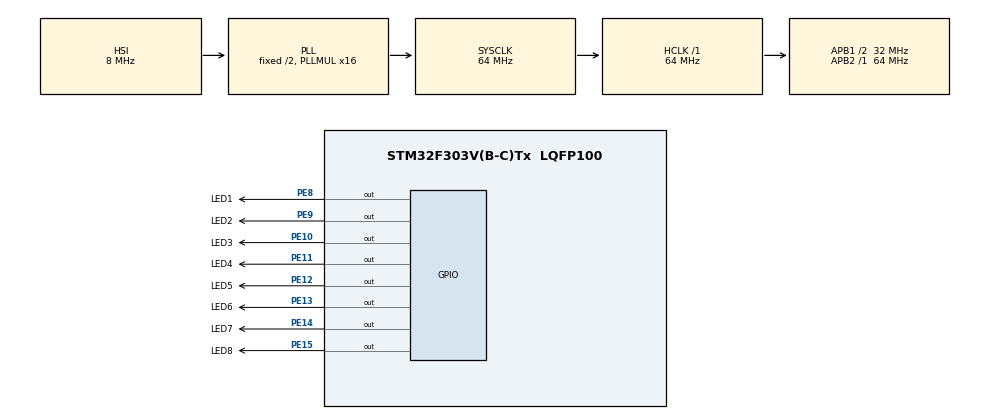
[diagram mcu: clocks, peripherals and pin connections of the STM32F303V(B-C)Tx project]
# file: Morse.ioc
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Mcu.Family=STM32F3
Mcu.Name=STM32F303V(B-C)Tx
Mcu.Package=LQFP100
NVIC.PriorityGroup=NVIC_PRIORITYGROUP_4
PE10.GPIO_Label=LED3
PE10.Signal=GPIO_Output
PE11.GPIO_Label=LED4
PE11.Signal=GPIO_Output
PE12.GPIO_Label=LED5
PE12.Signal=GPIO_Output
PE13.GPIO_Label=LED6
PE13.Signal=GPIO_Output
PE14.GPIO_Label=LED7
PE14.Signal=GPIO_Output
PE15.GPIO_Label=LED8
PE15.Signal=GPIO_Output
PE8.GPIO_Label=LED1
PE8.Signal=GPIO_Output
PE9.GPIO_Label=LED2
PE9.Signal=GPIO_Output
ProjectManager.HeapSize=0x200
ProjectManager.StackSize=0x400
ProjectManager.TargetToolchain=SW4STM32
RCC.AHBFreq_Value=64000000
RCC.APB1CLKDivider=RCC_HCLK_DIV2
RCC.APB1Freq_Value=32000000
RCC.APB1TimFreq_Value=64000000
RCC.APB2Freq_Value=64000000
RCC.APB2TimFreq_Value=64000000
RCC.CortexFreq_Value=64000000
RCC.HCLKFreq_Value=64000000
RCC.HSE_VALUE=8000000
RCC.HSI_VALUE=8000000
RCC.LSE_VALUE=32768
RCC.PLLMUL=RCC_PLL_MUL16
RCC.SYSCLKFreq_VALUE=64000000
RCC.SYSCLKSourceVirtual=RCC_SYSCLKSOURCE_PLLCLK
RCC.USBFreq_Value=64000000
board=Morse

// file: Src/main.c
/**
  ******************************************************************************
  * File Name          : main.c
  * Description        : Main program body
  ******************************************************************************
  ** This notice applies to any and all portions of this file
  * that are not between comment pairs USER CODE BEGIN and
  * USER CODE END. Other portions of this file, whether
  * inserted by the user or by software development tools
  * are owned by their respective copyright owners.
  *
  * COPYRIGHT(c) 2017 STMicroelectronics
  *
  * Redistribution and use in source and binary forms, with or without modification,
  * are permitted provided that the following conditions are met:
  *   1. Redistributions of source code must retain the above copyright notice,
  *      this list of conditions and the following disclaimer.
  *   2. Redistributions in binary form must reproduce the above copyright notice,
  *      this list of conditions and the following disclaimer in the documentation
  *      and/or other materials provided with the distribution.
  *   3. Neither the name of STMicroelectronics nor the names of its contributors
  *      may be used to endorse or promote products derived from this software
  *      without specific prior written permission.
  *
  * THIS SOFTWARE IS PROVIDED BY THE COPYRIGHT HOLDERS AND CONTRIBUTORS "AS IS"
  * AND ANY EXPRESS OR IMPLIED WARRANTIES, INCLUDING, BUT NOT LIMITED TO, THE
  * IMPLIED WARRANTIES OF MERCHANTABILITY AND FITNESS FOR A PARTICULAR PURPOSE ARE
  * DISCLAIMED. IN NO EVENT SHALL THE COPYRIGHT HOLDER OR CONTRIBUTORS BE LIABLE
  * FOR ANY DIRECT, INDIRECT, INCIDENTAL, SPECIAL, EXEMPLARY, OR CONSEQUENTIAL
  * DAMAGES (INCLUDING, BUT NOT LIMITED TO, PROCUREMENT OF SUBSTITUTE GOODS OR
  * SERVICES; LOSS OF USE, DATA, OR PROFITS; OR BUSINESS INTERRUPTION) HOWEVER
  * CAUSED AND ON ANY THEORY OF LIABILITY, WHETHER IN CONTRACT, STRICT LIABILITY,
  * OR TORT (INCLUDING NEGLIGENCE OR OTHERWISE) ARISING IN ANY WAY OUT OF THE USE
  * OF THIS SOFTWARE, EVEN IF ADVISED OF THE POSSIBILITY OF SUCH DAMAGE.
  *
  ******************************************************************************
  */
#include "main.h"
#include "stm32f3xx_hal.h"
#include "gpio.h"

/* USER CODE BEGIN PV */
/* Private variables ---------------------------------------------------------*/

/* USER CODE END PV */

void SystemClock_Config(void);

/* USER CODE BEGIN PFP */
/* Private function prototypes -----------------------------------------------*/

/* USER CODE END PFP */

int main(void)
{

  /* USER CODE BEGIN 1 */
	int pins[] = {LED1_Pin, LED2_Pin, LED3_Pin, LED4_Pin, LED5_Pin, LED6_Pin, LED7_Pin, LED8_Pin};
	void pins_on() {
		for (int i=0; i<8; i++) {
			HAL_GPIO_WritePin(GPIOE, pins[i], GPIO_PIN_SET);
		}
	}
	void pins_off() {
		for (int i=0; i<8; i++) {
			HAL_GPIO_WritePin(GPIOE, pins[i], GPIO_PIN_RESET);
		}
	}
	void dot() {
		pins_on();
		HAL_Delay(100);
		pins_off();
	}
	void dash() {
		pins_on();
		HAL_Delay(300);
		pins_off();
	}
	void letter(char let) {
		int symbols[] = {};
		if (let == 'a') {
			int symbols[2] = {0, 1};
		} else if (let == 'd') {
			int symbols[3] = {1, 0, 0};
		} else if (let == 'r') {
			int symbols[3] = {0, 1, 0};
		} else if (let == 'i') {
			int symbols[2] = {0, 0};
		} else if (let == 'y') {
			int symbols[4] = {1, 0, 1, 1};
		} else if (let == 'n') {
			int symbols[2] = {1, 0};
		} else if (let == ' ') {
			int symbols[4] = {0, 0, 0, 0};
		} else if (let == 'b') {
			int symbols[4] = {1, 0, 0, 0};
		} else if (let == 'e') {
			int symbols[1] = {0};
		} else if (let == 'v') {
			int symbols[4] = {0, 0, 0, 1};
		} else if (let == 'z') {
			int symbols[4] = {1, 1, 0, 0};
		}
		for (int i=0; i<sizeof(symbols); i++) {
			if (i>0) {
				HAL_Delay(100);
			}
			if (symbols[i]) {
				dash();
			} else {
				dot();
			}
		}
	}
  /* USER CODE END 1 */

  /* MCU Configuration----------------------------------------------------------*/

  /* Reset of all peripherals, Initializes the Flash interface and the Systick. */
  HAL_Init();

  /* Configure the system clock */
  SystemClock_Config();

  /* Initialize all configured peripherals */
  MX_GPIO_Init();

  /* Infinite loop */
  /* USER CODE BEGIN WHILE */
  while (1)
  {
	  char name[] = {'a', 'd', 'r', 'i', 'y', 'a', 'n', ' ', 'b', 'e', 'v', 'z',};
	  for (int i=1; i<sizeof(name); i++) {
		  letter(name[i]);
		  HAL_Delay(300);
	  }
	  HAL_Delay(5000);
  /* USER CODE END WHILE */

  }

}

/** System Clock Configuration
*/
void SystemClock_Config(void)
{

  RCC_OscInitTypeDef RCC_OscInitStruct;
  RCC_ClkInitTypeDef RCC_ClkInitStruct;

    /**Initializes the CPU, AHB and APB busses clocks
    */
  RCC_OscInitStruct.OscillatorType = RCC_OSCILLATORTYPE_HSI;
  RCC_OscInitStruct.HSIState = RCC_HSI_ON;
  RCC_OscInitStruct.HSICalibrationValue = 16;
  RCC_OscInitStruct.PLL.PLLState = RCC_PLL_ON;
  RCC_OscInitStruct.PLL.PLLSource = RCC_PLLSOURCE_HSI;
  RCC_OscInitStruct.PLL.PLLMUL = RCC_PLL_MUL16;
  if (HAL_RCC_OscConfig(&RCC_OscInitStruct) != HAL_OK)
  {
    _Error_Handler(__FILE__, __LINE__);
  }

    /**Initializes the CPU, AHB and APB busses clocks
    */
  RCC_ClkInitStruct.ClockType = RCC_CLOCKTYPE_HCLK|RCC_CLOCKTYPE_SYSCLK
                              |RCC_CLOCKTYPE_PCLK1|RCC_CLOCKTYPE_PCLK2;
  RCC_ClkInitStruct.SYSCLKSource = RCC_SYSCLKSOURCE_PLLCLK;
  RCC_ClkInitStruct.AHBCLKDivider = RCC_SYSCLK_DIV1;
  RCC_ClkInitStruct.APB1CLKDivider = RCC_HCLK_DIV2;
  RCC_ClkInitStruct.APB2CLKDivider = RCC_HCLK_DIV1;

  if (HAL_RCC_ClockConfig(&RCC_ClkInitStruct, FLASH_LATENCY_2) != HAL_OK)
  {
    _Error_Handler(__FILE__, __LINE__);
  }

    /**Configure the Systick interrupt time
    */
  HAL_SYSTICK_Config(HAL_RCC_GetHCLKFreq()/1000);

    /**Configure the Systick
    */
  HAL_SYSTICK_CLKSourceConfig(SYSTICK_CLKSOURCE_HCLK);

  /* SysTick_IRQn interrupt configuration */
  HAL_NVIC_SetPriority(SysTick_IRQn, 0, 0);
}

void _Error_Handler(char * file, int line)
{
  while(1)
  {
  }
}

/************************ (C) COPYRIGHT STMicroelectronics *****END OF FILE****/
